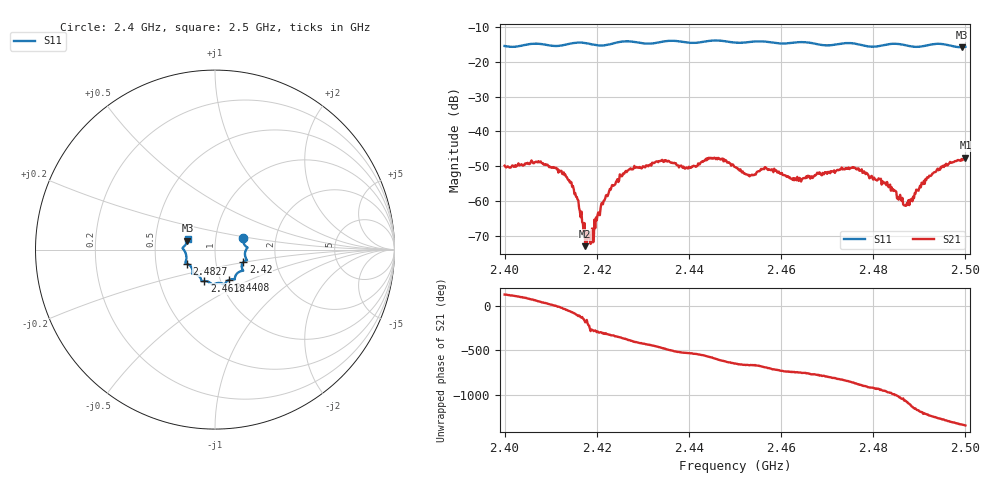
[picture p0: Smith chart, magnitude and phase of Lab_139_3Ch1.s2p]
# Hz S RI R 50
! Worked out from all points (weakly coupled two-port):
!   601 points, 2.4 GHz to 2.5 GHz, reference 50 ohm
!   highest |S21| = -47.50 dB at 2.5 GHz (marker M1); lowest = -72.9 dB at 2.4175 GHz (marker M2)
!   lowest |S11| = -15.8 dB at 2.4992 GHz (marker M3), VSWR 1.39, Z = 36.5 + j3.72 ohm
!   |S11| at or under -10 dB: start of sweep to end of sweep
!   S12 and S22 are empty: the file has one direction only
!   S11 on the Smith chart (normalised r, x): 2.4 GHz: 1.36, +0.17; 2.42 GHz: 1.36, -0.19; 2.4408 GHz: 1.10, -0.38; 2.4618 GHz: 0.84, -0.30; 2.4827 GHz: 0.72, -0.12; 2.5 GHz: 0.73, +0.09
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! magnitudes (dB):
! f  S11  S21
! 2.4 GHz  -15.5  -49.8
! 2.4073 GHz  -14.8  -48.5
! 2.4123 GHz  -15.3  -51.3
! 2.4148 GHz  -14.7  -55.7
! 2.4167 GHz  -14.5  -63.0
! 2.4175 GHz  -14.6  -72.9
! 2.4188 GHz  -15.0  -68.9
! 2.42 GHz  -15.3  -65.5
! 2.4255 GHz  -14.2  -52.8
! 2.4333 GHz  -14.5  -48.8
! 2.4408 GHz  -14.6  -50.0
! 2.4452 GHz  -13.9  -47.8
! 2.45 GHz  -14.5  -50.2
! 2.4618 GHz  -14.7  -53.1
! 2.4667 GHz  -14.6  -52.9
! 2.4757 GHz  -14.7  -50.5
! 2.4827 GHz  -15.1  -54.9
! 2.4833 GHz  -15.0  -56.0
! 2.487 GHz  -15.3  -61.3
! 2.4935 GHz  -14.9  -51.7
! 2.4992 GHz  -15.8  -47.9
! 2.5 GHz  -15.7  -47.5
